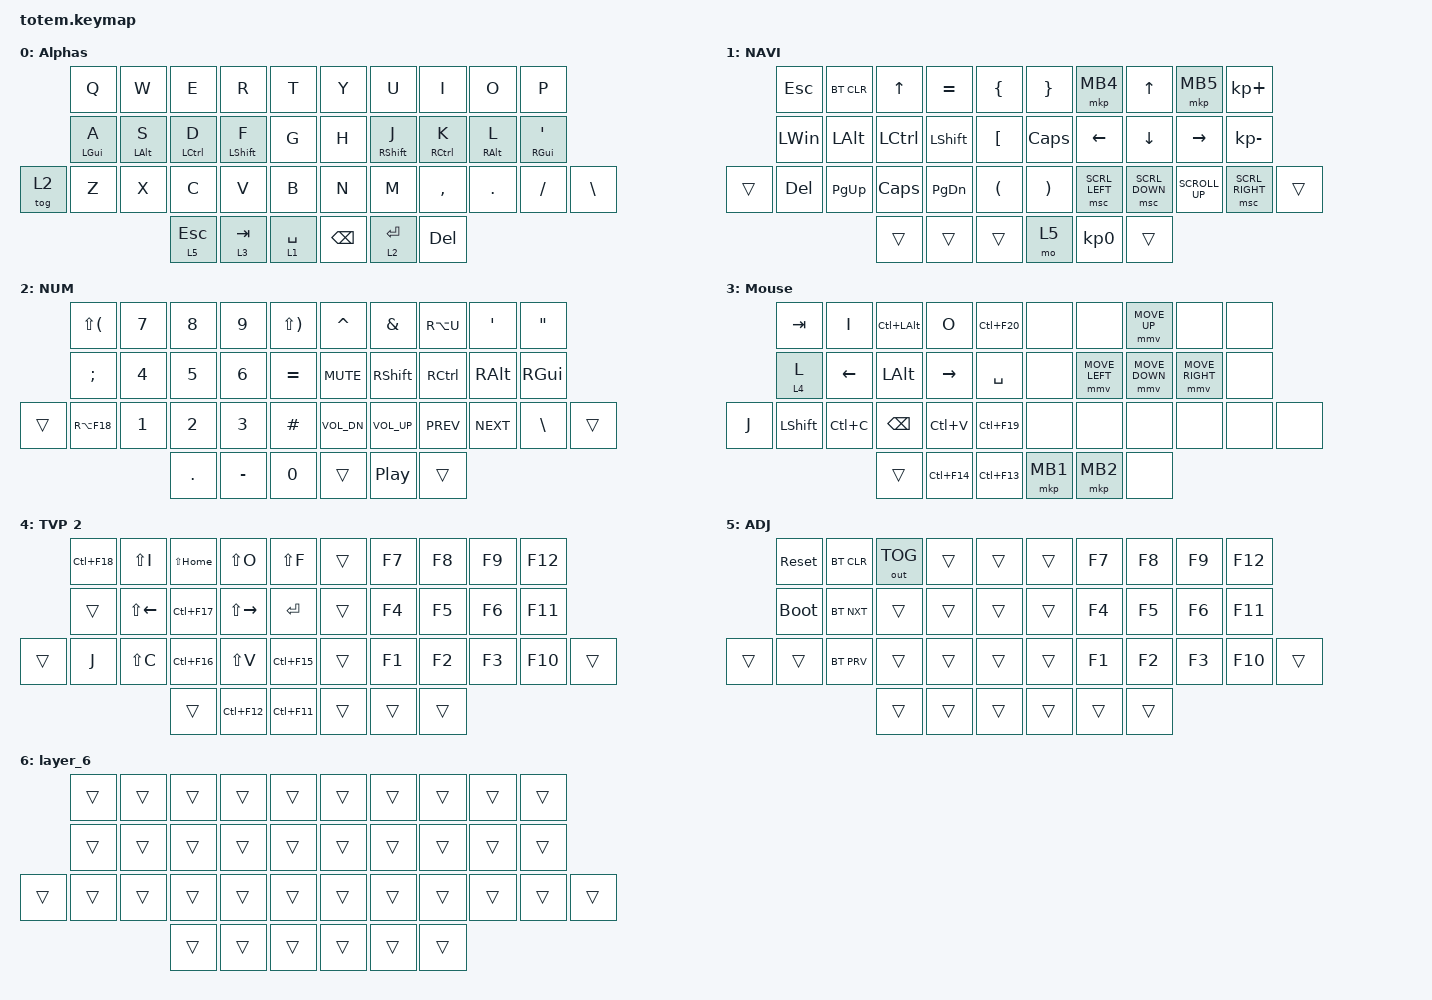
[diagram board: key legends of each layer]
//
//                                                        ▀▀▀▀▀     ▀▀▀▀▀          ▀▀█▀▀
//                                                        ▄▀▀▀▄  ▄  ▄▀▀▀▄  ▄  ▄▀▀▀▄  █  ▄▀▀▀▄
//                                                        █   █  █  █   █  █  █   █  █  █   █
//                                                         ▀▀▀   █   ▀▀▀   █   ▀▀▀   ▀   ▀▀▀
//                                                               █      ▄▄▄█▄▄▄    █   █  
//                                                               ▀      █  █  █     █▄█
//                                                             ▀▀▀▀▀    █  █  █      ▀
//                                                                      ▀  ▀  ▀
//
// ▄▄▄▄▄▄▄▄▄▄▄▄▄▄▄▄▄▄▄▄▄▄▄▄▄▄▄▄▄▄▄▄▄▄▄▄▄▄▄▄▄▄▄▄▄▄▄▄▄▄▄▄▄▄▄▄▄▄▄▄▄▄▄▄▄▄▄▄▄▄▄▄▄▄▄▄▄▄▄▄▄▄▄▄▄▄▄▄▄▄▄▄▄▄▄▄▄▄▄▄▄▄▄▄▄▄▄▄▄▄▄▄▄▄▄▄▄▄▄▄▄▄▄▄▄▄▄▄▄▄▄▄▄▄▄▄▄▄▄▄▄▄▄▄▄▄▄▄▄

#include <behaviors.dtsi>
#include <dt-bindings/zmk/bt.h>
#include <dt-bindings/zmk/keys.h>
#include <dt-bindings/zmk/outputs.h>
#include <dt-bindings/zmk/pointing.h>

#define BASE 0
#define NAV  1
#define SYM  2
#define ADJ  3
#define TVP1 4
#define TVP2 5

&mt {
    quick-tap-ms = <100>;
    global-quick-tap;
    flavor = "tap-preferred";
    tapping-term-ms = <170>;
};

/ {
    combos {
        compatible = "zmk,combos";

        combo_esc {
            timeout-ms = <50>;
            key-positions = <0 1>;
            bindings = <&kp ESC>;
        };

        combo_tvp {
            timeout-ms = <100>;
            key-positions = <11 12 13>;
            bindings = <&tog 3>;
        };
    };

    macros {
        gif: gif {
            label = "giphy";
            compatible = "zmk,behavior-macro";
            #binding-cells = <0>;
            bindings =
                <&macro_press>,
                <&kp LSHFT>,
                <&macro_tap>,
                <&kp N2>,
                <&macro_release>,
                <&kp LSHFT>,
                <&macro_tap>,
                <&kp G &kp I &kp F>;
        };
    };

    keymap {
        compatible = "zmk,keymap";

        // ▄▄▄▄▄▄▄▄▄▄▄▄▄▄▄▄▄▄▄▄▄▄▄▄▄▄▄▄▄▄▄▄▄▄▄▄▄▄▄▄▄▄▄▄▄▄▄▄▄▄▄▄▄▄▄▄▄▄▄▄▄▄▄▄▄▄▄▄▄▄▄▄▄▄▄▄▄▄▄▄▄▄▄▄▄▄▄▄▄▄▄▄▄▄▄▄▄▄▄▄▄▄▄▄▄▄▄▄▄▄▄▄▄▄▄▄▄▄▄▄▄▄▄▄▄▄▄▄▄▄▄▄▄▄▄▄▄▄▄▄▄▄▄▄▄▄▄▄▄

        Alphas {
            // ┏━━━━━━━━━━━━━━━━━━━━━━━━━━━━━━━━━━━━━━━┓

            label = "Alphas";

            // ┗━━━━━━━━━━━━━━━━━━━━━━━━━━━━━━━━━━━━━━━┛
            //             ┏━━━━━━━━━━━┳━━━━━━━━━━━┳━━━━━━━━━━━┳━━━━━━━━━━━┳━━━━━━━━━━━┓   ┏━━━━━━━━━━━┳━━━━━━━━━━━┳━━━━━━━━━━━┳━━━━━━━━━━━┳━━━━━━━━━━━┓
            //             ┃     Q     ┃     W     ┃     F     ┃     P     ┃     G     ┃   ┃     J     ┃     L     ┃     U     ┃     Y     ┃     ;     ┃
            //             ┣━━━━━━━━━━━╋━━━━━━━━━━━╋━━━━━━━━━━━╋━━━━━━━━━━━╋━━━━━━━━━━━┫   ┣━━━━━━━━━━━╋━━━━━━━━━━━╋━━━━━━━━━━━╋━━━━━━━━━━━╋━━━━━━━━━━━┫
            //             ┃     A     ┃     R     ┃     S     ┃     T     ┃     D     ┃   ┃     H     ┃     N     ┃     E     ┃     I     ┃     O     ┃
            // ┏━━━━━━━━━━━╋━━━━━━━━━━━╋━━━━━━━━━━━╋━━━━━━━━━━━╋━━━━━━━━━━━╋━━━━━━━━━━━┫   ┣━━━━━━━━━━━╋━━━━━━━━━━━╋━━━━━━━━━━━╋━━━━━━━━━━━╋━━━━━━━━━━━╋━━━━━━━━━━━┓
            // ┃     Q     ┃     Z     ┃     X     ┃     C     ┃     V     ┃     B     ┃   ┃     K     ┃     M     ┃     ,     ┃     .     ┃     /     ┃     \     ┃
            // ┗━━━━━━━━━━━┻━━━━━━━━━━━┻━━━━━━━━━━━╋━━━━━━━━━━━╋━━━━━━━━━━━╋━━━━━━━━━━━┫   ┣━━━━━━━━━━━╋━━━━━━━━━━━╋━━━━━━━━━━━╋━━━━━━━━━━━┻━━━━━━━━━━━┻━━━━━━━━━━━┛
            //                                     ┃    DEL    ┃    TAB    ┃    SPC    ┃   ┃   ENTER   ┃           ┃   BSPC    ┃
            //                                     ┗━━━━━━━━━━━┻━━━━━━━━━━━┻━━━━━━━━━━━┛   ┗━━━━━━━━━━━┻━━━━━━━━━━━┻━━━━━━━━━━━┛

            bindings = <
        &kp Q       &kp W       &kp E         &kp R        &kp T          &kp Y          &kp U        &kp I        &kp O       &kp P
        &mt LGUI A  &mt LALT S  &mt LCTRL D   &mt LSHFT F  &kp G          &kp H          &mt RSHFT J  &mt RCTRL K  &mt RALT L  &mt RGUI SQT
&tog 2  &kp Z       &kp X       &kp C         &kp V        &kp B          &kp N          &kp M        &kp COMMA    &kp DOT     &kp FSLH      &kp BSLH
                                &lt 5 ESCAPE  &lt 3 TAB    &lt 1 SPACE    &kp BACKSPACE  &lt 2 ENTER  &kp DEL
            >;
        };

        Navigation {
            // ┏━━━━━━━━━━━━━━━━━━━━━━━━━━━━━━━━━━━━━━━┓

            label = "NAVI";

            // ┗━━━━━━━━━━━━━━━━━━━━━━━━━━━━━━━━━━━━━━━┛
            //             ┏━━━━━━━━━━━┳━━━━━━━━━━━┳━━━━━━━━━━━┳━━━━━━━━━━━┳━━━━━━━━━━━┓   ┏━━━━━━━━━━━┳━━━━━━━━━━━┳━━━━━━━━━━━┳━━━━━━━━━━━┳━━━━━━━━━━━┓
            //             ┃           ┃           ┃     UP    ┃           ┃     {     ┃   ┃     }     ┃     7     ┃     8     ┃     9     ┃     +     ┃
            //             ┣━━━━━━━━━━━╋━━━━━━━━━━━╋━━━━━━━━━━━╋━━━━━━━━━━━╋━━━━━━━━━━━┫   ┣━━━━━━━━━━━╋━━━━━━━━━━━╋━━━━━━━━━━━╋━━━━━━━━━━━╋━━━━━━━━━━━┫
            //             ┃   SHIFT   ┃   LEFT    ┃    DOWN   ┃   RIGHT   ┃     [     ┃   ┃     ]     ┃     4     ┃     5     ┃     6     ┃     -     ┃
            // ┏━━━━━━━━━━━╋━━━━━━━━━━━╋━━━━━━━━━━━╋━━━━━━━━━━━╋━━━━━━━━━━━╋━━━━━━━━━━━┫   ┣━━━━━━━━━━━╋━━━━━━━━━━━╋━━━━━━━━━━━╋━━━━━━━━━━━╋━━━━━━━━━━━╋━━━━━━━━━━━┓
            // ┃           ┃           ┃   P UP    ┃  C LOCK   ┃  P DOWN   ┃     (     ┃   ┃     )     ┃     1     ┃     2     ┃     3     ┃     *     ┃           ┃
            // ┗━━━━━━━━━━━┻━━━━━━━━━━━┻━━━━━━━━━━━╋━━━━━━━━━━━╋━━━━━━━━━━━╋━━━━━━━━━━━┫   ┣━━━━━━━━━━━╋━━━━━━━━━━━╋━━━━━━━━━━━╋━━━━━━━━━━━┻━━━━━━━━━━━┻━━━━━━━━━━━┛
            //                                     ┃           ┃    TAB    ┃    SPC    ┃   ┃    DEL    ┃     0     ┃           ┃
            //                                     ┗━━━━━━━━━━━┻━━━━━━━━━━━┻━━━━━━━━━━━┛   ┗━━━━━━━━━━━┻━━━━━━━━━━━┻━━━━━━━━━━━┛

            bindings = <
        &kp ESC       &bt BT_CLR    &kp UP            &kp EQUAL       &kp LBRC    &kp RBRC      &mkp MB4        &kp UP_ARROW    &mkp MB5         &kp KP_PLUS
        &kp LEFT_WIN  &kp LEFT_ALT  &kp LEFT_CONTROL  &kp LEFT_SHIFT  &kp LBKT    &kp CAPSLOCK  &kp LEFT        &kp DOWN        &kp RIGHT        &kp KP_MINUS
&trans  &kp DEL       &kp PG_UP     &kp CAPS          &kp PG_DN       &kp LPAR    &kp RPAR      &msc SCRL_LEFT  &msc SCRL_DOWN  &kp K_SCROLL_UP  &msc SCRL_RIGHT  &trans
                                    &trans            &trans          &trans      &mo 5         &kp KP_N0       &trans
            >;
        };

        Numbers {
            // ┏━━━━━━━━━━━━━━━━━━━━━━━━━━━━━━━━━━━━━━━┓

            label = "NUM";

            // ┗━━━━━━━━━━━━━━━━━━━━━━━━━━━━━━━━━━━━━━━┛
            //             ┏━━━━━━━━━━━┳━━━━━━━━━━━┳━━━━━━━━━━━┳━━━━━━━━━━━┳━━━━━━━━━━━┓   ┏━━━━━━━━━━━┳━━━━━━━━━━━┳━━━━━━━━━━━┳━━━━━━━━━━━┳━━━━━━━━━━━┓
            //             ┃     !     ┃     @     ┃     #     ┃     $     ┃     %     ┃   ┃     ˆ     ┃     &     ┃     Ü     ┃     '     ┃     "     ┃
            //             ┣━━━━━━━━━━━╋━━━━━━━━━━━╋━━━━━━━━━━━╋━━━━━━━━━━━╋━━━━━━━━━━━┫   ┣━━━━━━━━━━━╋━━━━━━━━━━━╋━━━━━━━━━━━╋━━━━━━━━━━━╋━━━━━━━━━━━┫
            //             ┃     Ä     ┃           ┃    SZ     ┃           ┃           ┃   ┃   MUTE    ┃   YEN     ┃   EURO    ┃  POUND    ┃     Ö     ┃
            // ┏━━━━━━━━━━━╋━━━━━━━━━━━╋━━━━━━━━━━━╋━━━━━━━━━━━╋━━━━━━━━━━━╋━━━━━━━━━━━┫   ┣━━━━━━━━━━━╋━━━━━━━━━━━╋━━━━━━━━━━━╋━━━━━━━━━━━╋━━━━━━━━━━━╋━━━━━━━━━━━┓
            // ┃           ┃  EMAIL1   ┃  EMAIL2   ┃           ┃           ┃           ┃   ┃   VOL-    ┃   VOL+    ┃   LAST    ┃   NEXT    ┃     \     ┃           ┃
            // ┗━━━━━━━━━━━┻━━━━━━━━━━━┻━━━━━━━━━━━╋━━━━━━━━━━━╋━━━━━━━━━━━╋━━━━━━━━━━━┫   ┣━━━━━━━━━━━╋━━━━━━━━━━━╋━━━━━━━━━━━╋━━━━━━━━━━━┻━━━━━━━━━━━┻━━━━━━━━━━━┛
            //                                     ┃           ┃    GIF    ┃    ADJ    ┃   ┃           ┃           ┃           ┃
            //                                     ┗━━━━━━━━━━━┻━━━━━━━━━━━┻━━━━━━━━━━━┛   ┗━━━━━━━━━━━┻━━━━━━━━━━━┻━━━━━━━━━━━┛

            bindings = <
        &kp LS(LPAR)  &kp N7  &kp N8   &kp N9     &kp LS(RIGHT_PARENTHESIS)    &kp CARET     &kp AMPS      &kp RA(U)   &kp SQT     &kp DQT
        &kp SEMI      &kp N4  &kp N5   &kp N6     &kp EQUAL                    &kp C_MUTE    &kp RSHFT     &kp RCTRL   &kp RALT    &kp RGUI
&trans  &kp RA(F18)   &kp N1  &kp N2   &kp N3     &kp POUND                    &kp C_VOL_DN  &kp C_VOL_UP  &kp C_PREV  &kp C_NEXT  &kp BSLH  &trans
                              &kp DOT  &kp MINUS  &kp N0                       &trans        &kp C_PP      &trans
            >;
        };

        Mouse {
            // ┏━━━━━━━━━━━━━━━━━━━━━━━━━━━━━━━━━━━━━━━┓

            label = "Mouse";

            // ┗━━━━━━━━━━━━━━━━━━━━━━━━━━━━━━━━━━━━━━━┛
            //             ┏━━━━━━━━━━━┳━━━━━━━━━━━┳━━━━━━━━━━━┳━━━━━━━━━━━┳━━━━━━━━━━━┓   ┏━━━━━━━━━━━┳━━━━━━━━━━━┳━━━━━━━━━━━┳━━━━━━━━━━━┳━━━━━━━━━━━┓
            //             ┃ NEXT FILE ┃ MARK IN   ┃ ROTATE    ┃ MARK OUT  ┃ SHOW SNAP ┃   ┃           ┃           ┃           ┃           ┃           ┃
            //             ┣━━━━━━━━━━━╋━━━━━━━━━━━╋━━━━━━━━━━━╋━━━━━━━━━━━╋━━━━━━━━━━━┫   ┣━━━━━━━━━━━╋━━━━━━━━━━━╋━━━━━━━━━━━╋━━━━━━━━━━━╋━━━━━━━━━━━┫
            //             ┃ TVP II    ┃ LEFT      ┃ PAN       ┃ RIGHT     ┃ PLAY/FLIP ┃   ┃           ┃           ┃           ┃           ┃           ┃
            // ┏━━━━━━━━━━━╋━━━━━━━━━━━╋━━━━━━━━━━━╋━━━━━━━━━━━╋━━━━━━━━━━━╋━━━━━━━━━━━┫   ┣━━━━━━━━━━━╋━━━━━━━━━━━╋━━━━━━━━━━━╋━━━━━━━━━━━╋━━━━━━━━━━━╋━━━━━━━━━━━┓
            // ┃ FULLSCR   ┃ SHIFT     ┃ COPY      ┃ DELETE    ┃ PASTE     ┃ IMG MARK  ┃   ┃           ┃           ┃           ┃           ┃           ┃           ┃
            // ┗━━━━━━━━━━━┻━━━━━━━━━━━┻━━━━━━━━━━━╋━━━━━━━━━━━╋━━━━━━━━━━━╋━━━━━━━━━━━┫   ┣━━━━━━━━━━━╋━━━━━━━━━━━╋━━━━━━━━━━━╋━━━━━━━━━━━┻━━━━━━━━━━━┻━━━━━━━━━━━┛
            //                                     ┃           ┃ UNDO/SAVE ┃  SEL/MOV  ┃   ┃           ┃           ┃           ┃
            //                                     ┗━━━━━━━━━━━┻━━━━━━━━━━━┻━━━━━━━━━━━┛   ┗━━━━━━━━━━━┻━━━━━━━━━━━┻━━━━━━━━━━━┛

            bindings = <
       &kp TAB    &kp I      &kp LC(LALT)  &kp O        &kp LC(F20)    &none     &none           &mmv MOVE_UP    &none            &none
       &lt 4 L    &kp LEFT   &kp LALT      &kp RIGHT    &kp SPACE      &none     &mmv MOVE_LEFT  &mmv MOVE_DOWN  &mmv MOVE_RIGHT  &none
&kp J  &kp LSHFT  &kp LC(C)  &kp BSPC      &kp LC(V)    &kp LC(F19)    &none     &none           &none           &none            &none  &none
                             &trans        &kp LC(F14)  &kp LC(F13)    &mkp MB1  &mkp MB2        &none
            >;
        };

        tvp2_layer {
            // ┏━━━━━━━━━━━━━━━━━━━━━━━━━━━━━━━━━━━━━━━┓

            label = "TVP 2";

            // ┗━━━━━━━━━━━━━━━━━━━━━━━━━━━━━━━━━━━━━━━┛
            //             ┏━━━━━━━━━━━┳━━━━━━━━━━━┳━━━━━━━━━━━┳━━━━━━━━━━━┳━━━━━━━━━━━┓   ┏━━━━━━━━━━━┳━━━━━━━━━━━┳━━━━━━━━━━━┳━━━━━━━━━━━┳━━━━━━━━━━━┓
            //             ┃ SOLO      ┃ TOGGLE IN ┃ RESET ROT ┃ TOGGLE OUT┃ TAKE SNAP ┃   ┃           ┃           ┃           ┃           ┃           ┃
            //             ┣━━━━━━━━━━━╋━━━━━━━━━━━╋━━━━━━━━━━━╋━━━━━━━━━━━╋━━━━━━━━━━━┫   ┣━━━━━━━━━━━╋━━━━━━━━━━━╋━━━━━━━━━━━╋━━━━━━━━━━━╋━━━━━━━━━━━┫
            //             ┃ ---       ┃ LAST KEY  ┃ NEW KEY   ┃ NEXT KEY  ┃ ENTER     ┃   ┃           ┃           ┃           ┃           ┃           ┃
            // ┏━━━━━━━━━━━╋━━━━━━━━━━━╋━━━━━━━━━━━╋━━━━━━━━━━━╋━━━━━━━━━━━╋━━━━━━━━━━━┫   ┣━━━━━━━━━━━╋━━━━━━━━━━━╋━━━━━━━━━━━╋━━━━━━━━━━━╋━━━━━━━━━━━╋━━━━━━━━━━━┓
            // ┃           ┃ FULLSCR   ┃ CPY2BRUSH ┃ DEL HEAD  ┃ PSTinPLACE┃ BOOK MARK ┃   ┃           ┃           ┃           ┃           ┃           ┃           ┃
            // ┗━━━━━━━━━━━┻━━━━━━━━━━━┻━━━━━━━━━━━╋━━━━━━━━━━━╋━━━━━━━━━━━╋━━━━━━━━━━━┫   ┣━━━━━━━━━━━╋━━━━━━━━━━━╋━━━━━━━━━━━╋━━━━━━━━━━━┻━━━━━━━━━━━┻━━━━━━━━━━━┛
            //                                     ┃           ┃ REDO/SAV1 ┃TRANS/WARP ┃   ┃           ┃           ┃           ┃
            //                                     ┗━━━━━━━━━━━┻━━━━━━━━━━━┻━━━━━━━━━━━┛   ┗━━━━━━━━━━━┻━━━━━━━━━━━┻━━━━━━━━━━━┛

            bindings = <
        &kp LC(F18)  &kp LS(I)     &kp LS(HOME)  &kp LS(O)      &kp LS(F)      &trans  &kp F7  &kp F8  &kp F9  &kp F12
        &trans       &kp LS(LEFT)  &kp LC(F17)   &kp LS(RIGHT)  &kp RET        &trans  &kp F4  &kp F5  &kp F6  &kp F11
&trans  &kp J        &kp LS(C)     &kp LC(F16)   &kp LS(V)      &kp LC(F15)    &trans  &kp F1  &kp F2  &kp F3  &kp F10  &trans
                                   &trans        &kp LC(F12)    &kp LC(F11)    &trans  &trans  &trans
            >;
        };

        adjust_layer {
            // ┏━━━━━━━━━━━━━━━━━━━━━━━━━━━━━━━━━━━━━━━┓

            label = "ADJ";

            // ┗━━━━━━━━━━━━━━━━━━━━━━━━━━━━━━━━━━━━━━━┛
            //             ┏━━━━━━━━━━━┳━━━━━━━━━━━┳━━━━━━━━━━━┳━━━━━━━━━━━┳━━━━━━━━━━━┓   ┏━━━━━━━━━━━┳━━━━━━━━━━━┳━━━━━━━━━━━┳━━━━━━━━━━━┳━━━━━━━━━━━┓
            //             ┃   RESET   ┃ BT CLEAR  ┃  OUT TOG  ┃           ┃           ┃   ┃           ┃    F7     ┃    F8     ┃    F9     ┃    F12    ┃
            //             ┣━━━━━━━━━━━╋━━━━━━━━━━━╋━━━━━━━━━━━╋━━━━━━━━━━━╋━━━━━━━━━━━┫   ┣━━━━━━━━━━━╋━━━━━━━━━━━╋━━━━━━━━━━━╋━━━━━━━━━━━╋━━━━━━━━━━━┫
            //             ┃ BOOTLOAD  ┃ BT NEXT   ┃           ┃           ┃           ┃   ┃           ┃    F4     ┃    F5     ┃    F6     ┃    F11    ┃
            // ┏━━━━━━━━━━━╋━━━━━━━━━━━╋━━━━━━━━━━━╋━━━━━━━━━━━╋━━━━━━━━━━━╋━━━━━━━━━━━┫   ┣━━━━━━━━━━━╋━━━━━━━━━━━╋━━━━━━━━━━━╋━━━━━━━━━━━╋━━━━━━━━━━━╋━━━━━━━━━━━┓
            // ┃           ┃           ┃ BT PREV   ┃           ┃           ┃           ┃   ┃           ┃    F1     ┃    F2     ┃    F3     ┃    F10    ┃           ┃
            // ┗━━━━━━━━━━━┻━━━━━━━━━━━┻━━━━━━━━━━━╋━━━━━━━━━━━╋━━━━━━━━━━━╋━━━━━━━━━━━┫   ┣━━━━━━━━━━━╋━━━━━━━━━━━╋━━━━━━━━━━━╋━━━━━━━━━━━┻━━━━━━━━━━━┻━━━━━━━━━━━┛
            //                                     ┃           ┃           ┃           ┃   ┃           ┃           ┃           ┃
            //                                     ┗━━━━━━━━━━━┻━━━━━━━━━━━┻━━━━━━━━━━━┛   ┗━━━━━━━━━━━┻━━━━━━━━━━━┻━━━━━━━━━━━┛

            bindings = <
        &sys_reset   &bt BT_CLR  &out OUT_TOG  &trans  &trans    &trans  &kp F7  &kp F8  &kp F9  &kp F12
        &bootloader  &bt BT_NXT  &trans        &trans  &trans    &trans  &kp F4  &kp F5  &kp F6  &kp F11
&trans  &trans       &bt BT_PRV  &trans        &trans  &trans    &trans  &kp F1  &kp F2  &kp F3  &kp F10  &trans
                                 &trans        &trans  &trans    &trans  &trans  &trans
            >;
        };

        layer_6 {
            bindings = <
        &trans  &trans  &trans  &trans  &trans    &trans  &trans  &trans  &trans  &trans
        &trans  &trans  &trans  &trans  &trans    &trans  &trans  &trans  &trans  &trans
&trans  &trans  &trans  &trans  &trans  &trans    &trans  &trans  &trans  &trans  &trans  &trans
                        &trans  &trans  &trans    &trans  &trans  &trans
            >;
        };
    };
};
